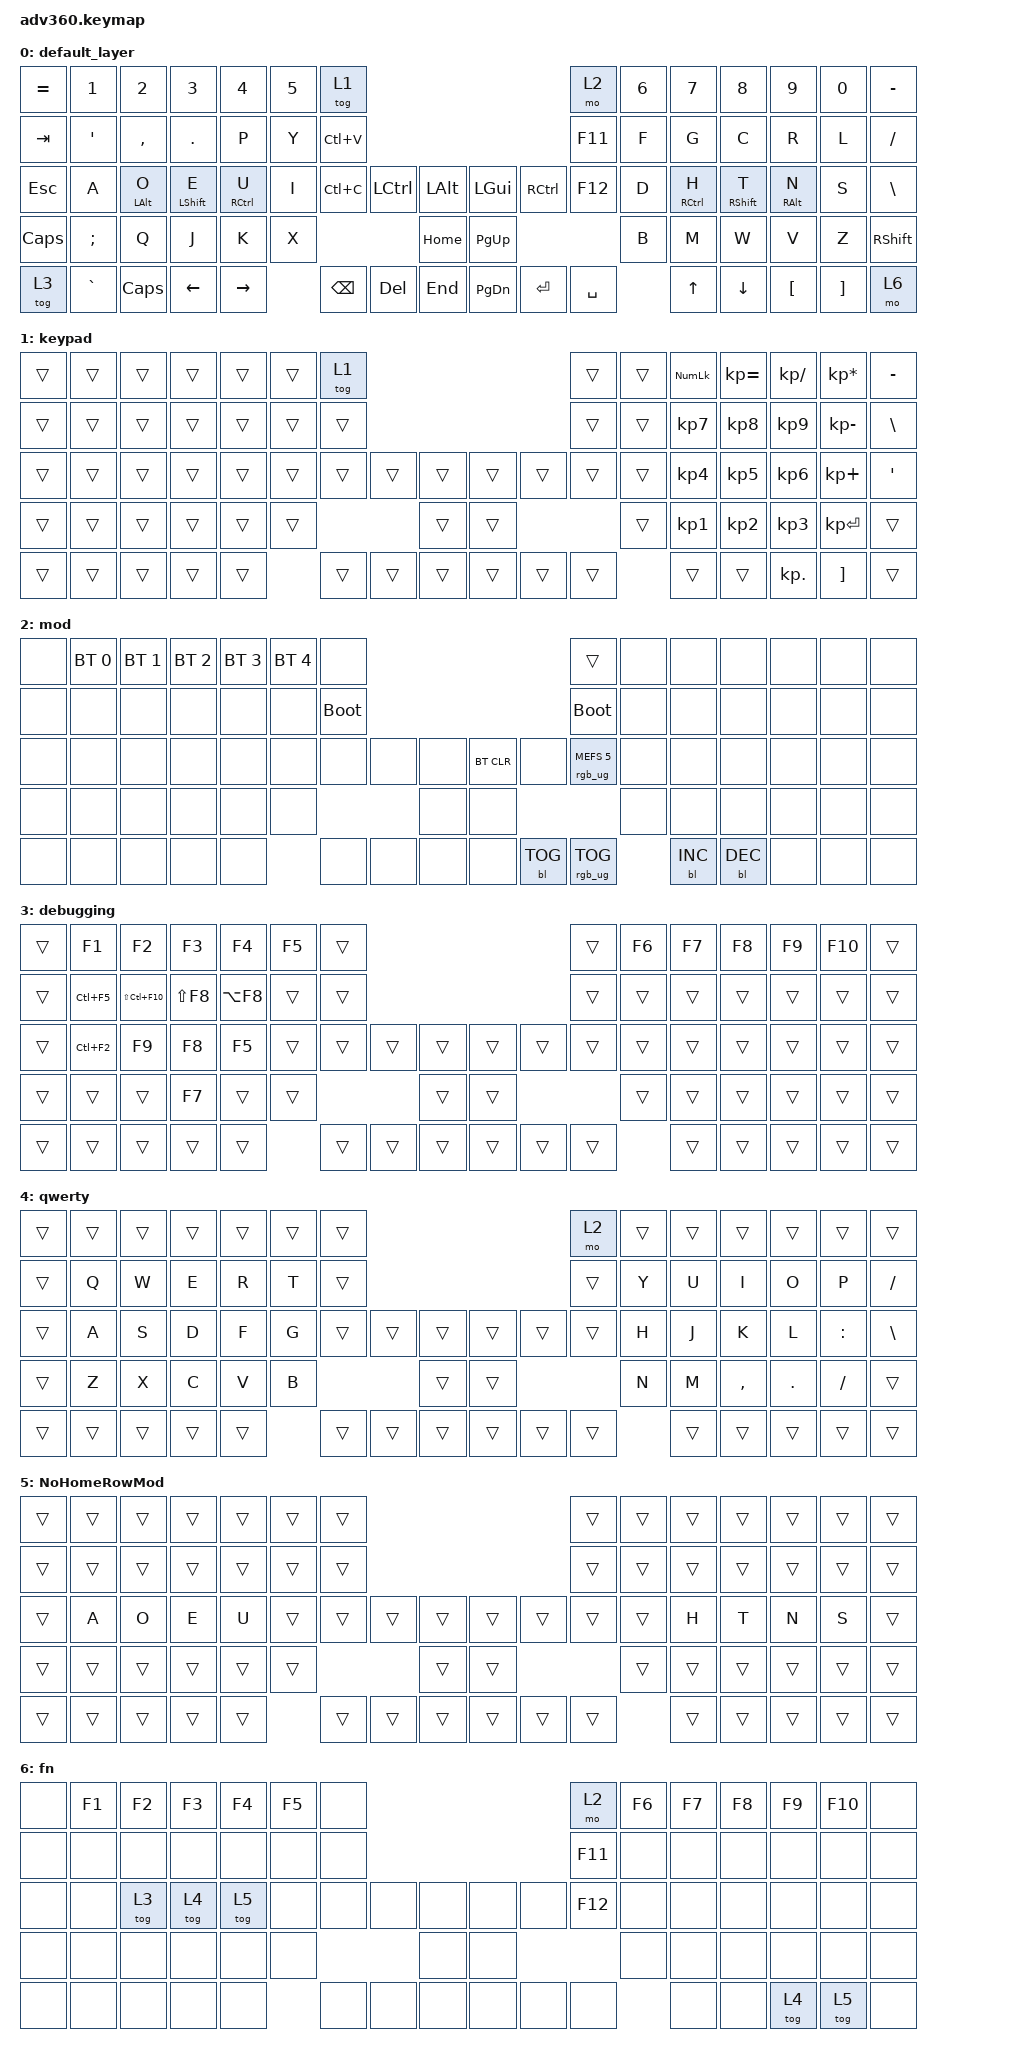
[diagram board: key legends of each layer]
#include <dt-bindings/zmk/stp.h>
#include <behaviors.dtsi>
#include <dt-bindings/zmk/backlight.h>
#include <dt-bindings/zmk/bt.h>
#include <dt-bindings/zmk/keys.h>
#include <dt-bindings/zmk/rgb.h>

/ {
    behaviors {
        #include "macros.dtsi"
        #include "version.dtsi"

        hm_shift: homerow_mods_shift {
            compatible = "zmk,behavior-hold-tap";
            label = "HOMEROW_MODS_SHIFT";
            #binding-cells = <2>;
            tapping-term-ms = <180>;
            quick-tap-ms = <150>;
            flavor = "balanced";
            bindings = <&kp>, <&kp>;
        };

        hm: homerow_mods {
            compatible = "zmk,behavior-hold-tap";
            label = "HOMEROW_MODS";
            #binding-cells = <2>;
            tapping-term-ms = <250>;
            quick-tap-ms = <200>;
            flavor = "balanced";
            bindings = <&kp>, <&kp>;
        };

        td: td {
            compatible = "zmk,behavior-tap-dance";
            label = "Tap Dance";
            #binding-cells = <0>;
            bindings = <&kp LSHFT>, <&kp CAPSLOCK>;
        };

        clear_layers: behavior {
            compatible = "zmk,behavior-macro";
            label = "Clear_Layers";
            #binding-cells = <0>;
            bindings = <&none &none &none &to 0>;
        };
    };

    macros {
    };

    keymap {
        compatible = "zmk,keymap";

        default_layer {
            bindings = <
&kp EQUAL     &kp N1            &kp N2          &kp N3             &kp N4       &kp N5  &tog 1                                                           &mo 2      &kp N6  &kp N7       &kp N8             &kp N9           &kp N0    &kp MINUS
&kp TAB       &kp SINGLE_QUOTE  &kp COMMA       &kp PERIOD         &kp P        &kp Y   &kp LC(V)                                                        &kp F11    &kp F   &kp G        &kp C              &kp R            &kp L     &kp SLASH
&kp ESC       &kp A             &hm LEFT_ALT O  &hm_shift LSHFT E  &hm RCTRL U  &kp I   &kp LC(C)  &kp LEFT_CONTROL  &kp LALT      &kp LGUI   &kp RCTRL  &kp F12    &kp D   &hm RCTRL H  &hm_shift RSHFT T  &hm RIGHT_ALT N  &kp S     &kp BACKSLASH
&kp CAPSLOCK  &kp SEMICOLON     &kp Q           &kp J              &kp K        &kp X                                &kp HOME      &kp PG_UP                        &kp B   &kp M        &kp W              &kp V            &kp Z     &kp RSHFT
&tog 3        &kp GRAVE         &kp CAPS        &kp LEFT           &kp RIGHT            &kp BSPC   &kp DEL           &kp END       &kp PG_DN  &kp ENTER  &kp SPACE          &kp UP       &kp DOWN           &kp LBKT         &kp RBKT  &mo 6
            >;
        };

        keypad {
            bindings = <
&trans  &trans  &trans  &trans  &trans  &trans  &tog 1                                      &trans  &trans  &kp KP_NUM  &kp KP_EQUAL  &kp KP_DIVIDE  &kp KP_MULTIPLY  &kp MINUS
&trans  &trans  &trans  &trans  &trans  &trans  &trans                                      &trans  &trans  &kp KP_N7   &kp KP_N8     &kp KP_N9      &kp KP_MINUS     &kp BSLH
&trans  &trans  &trans  &trans  &trans  &trans  &trans  &trans  &trans      &trans  &trans  &trans  &trans  &kp KP_N4   &kp KP_N5     &kp KP_N6      &kp KP_PLUS      &kp SQT
&trans  &trans  &trans  &trans  &trans  &trans                  &trans      &trans                  &trans  &kp KP_N1   &kp KP_N2     &kp KP_N3      &kp KP_ENTER     &trans
&trans  &trans  &trans  &trans  &trans          &trans  &trans  &trans      &trans  &trans  &trans          &trans      &trans        &kp KP_DOT     &kp RBKT         &trans
            >;
        };

        mod {
            bindings = <
&none  &bt BT_SEL 0  &bt BT_SEL 1  &bt BT_SEL 2  &bt BT_SEL 3  &bt BT_SEL 4  &none                                                  &trans                  &none  &none       &none       &none  &none  &none
&none  &none         &none         &none         &none         &none         &bootloader                                            &bootloader             &none  &none       &none       &none  &none  &none
&none  &none         &none         &none         &none         &none         &none        &none  &none      &bt BT_CLR  &none       &rgb_ug RGB_MEFS_CMD 5  &none  &none       &none       &none  &none  &none
&none  &none         &none         &none         &none         &none                             &none      &none                                           &none  &none       &none       &none  &none  &none
&none  &none         &none         &none         &none                       &none        &none  &none      &none       &bl BL_TOG  &rgb_ug RGB_TOG                &bl BL_INC  &bl BL_DEC  &none  &none  &none
            >;
        };

        Debug {
            bindings = <
&trans  &kp F1      &kp F2           &kp F3      &kp F4      &kp F5  &trans                                      &trans  &kp F6  &kp F7  &kp F8  &kp F9  &kp F10  &trans
&trans  &kp LC(F5)  &kp LS(LC(F10))  &kp LS(F8)  &kp LA(F8)  &trans  &trans                                      &trans  &trans  &trans  &trans  &trans  &trans   &trans
&trans  &kp LC(F2)  &kp F9           &kp F8      &kp F5      &trans  &trans  &trans  &trans      &trans  &trans  &trans  &trans  &trans  &trans  &trans  &trans   &trans
&trans  &trans      &trans           &kp F7      &trans      &trans                  &trans      &trans                  &trans  &trans  &trans  &trans  &trans   &trans
&trans  &trans      &trans           &trans      &trans              &trans  &trans  &trans      &trans  &trans  &trans          &trans  &trans  &trans  &trans   &trans
            >;

            label = "debugging";
        };

        QWERTY {
            bindings = <
&trans  &trans  &trans  &trans  &trans  &trans  &trans                                      &mo 2   &trans  &trans  &trans     &trans      &trans     &trans
&trans  &kp Q   &kp W   &kp E   &kp R   &kp T   &trans                                      &trans  &kp Y   &kp U   &kp I      &kp O       &kp P      &kp SLASH
&trans  &kp A   &kp S   &kp D   &kp F   &kp G   &trans  &trans  &trans      &trans  &trans  &trans  &kp H   &kp J   &kp K      &kp L       &kp COLON  &kp BACKSLASH
&trans  &kp Z   &kp X   &kp C   &kp V   &kp B                   &trans      &trans                  &kp N   &kp M   &kp COMMA  &kp PERIOD  &kp SLASH  &trans
&trans  &trans  &trans  &trans  &trans          &trans  &trans  &trans      &trans  &trans  &trans          &trans  &trans     &trans      &trans     &trans
            >;

            label = "qwerty";
        };

        NoHomeRowMod {
            bindings = <
&trans  &trans  &trans  &trans  &trans  &trans  &trans                                      &trans  &trans  &trans  &trans  &trans  &trans  &trans
&trans  &trans  &trans  &trans  &trans  &trans  &trans                                      &trans  &trans  &trans  &trans  &trans  &trans  &trans
&trans  &kp A   &kp O   &kp E   &kp U   &trans  &trans  &trans  &trans      &trans  &trans  &trans  &trans  &kp H   &kp T   &kp N   &kp S   &trans
&trans  &trans  &trans  &trans  &trans  &trans                  &trans      &trans                  &trans  &trans  &trans  &trans  &trans  &trans
&trans  &trans  &trans  &trans  &trans          &trans  &trans  &trans      &trans  &trans  &trans          &trans  &trans  &trans  &trans  &trans
            >;
        };

        fn {
            bindings = <
&none  &kp F1  &kp F2  &kp F3  &kp F4  &kp F5  &none                                  &mo 2    &kp F6  &kp F7  &kp F8  &kp F9  &kp F10  &none
&none  &none   &none   &none   &none   &none   &none                                  &kp F11  &none   &none   &none   &none   &none    &none
&none  &none   &tog 3  &tog 4  &tog 5  &none   &none  &none  &none      &none  &none  &kp F12  &none   &none   &none   &none   &none    &none
&none  &none   &none   &none   &none   &none                 &none      &none                  &none   &none   &none   &none   &none    &none
&none  &none   &none   &none   &none           &none  &none  &none      &none  &none  &none            &none   &none   &tog 4  &tog 5   &none
            >;
        };
    };
};
